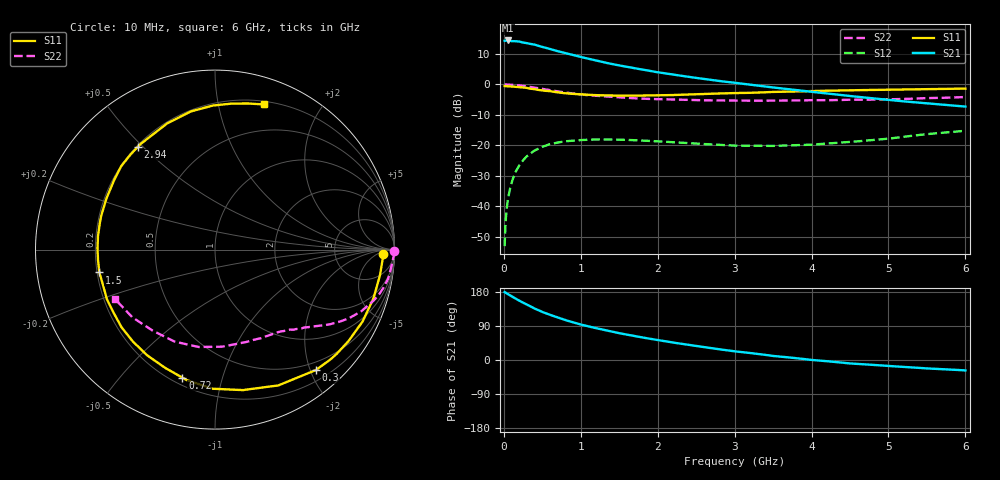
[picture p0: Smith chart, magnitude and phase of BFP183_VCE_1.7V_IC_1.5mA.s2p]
! Infineon Technologies  Discrete & RF Semiconductors
! BFP183
! VCE = 1.7 V,  IC =  1.5 mA
! Common Emitter S-Parameters:  Jan 2016
# GHz  S  MA  R  50
!  f  S11  S21  S12  S22
! GHz  MAG  ANG  MAG  ANG  MAG  ANG  MAG  ANG
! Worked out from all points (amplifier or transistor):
!   210 points, 10 MHz to 6 GHz, reference 50 ohm
!   highest |S21| = 14.4 dB at 50 MHz (marker M1)
!   |S21| within 3 dB of that: start of sweep to 629 MHz
!   unconditionally stable (mu >= 1): 2.217 GHz to end of sweep
!   at 185 MHz: K = 0.09, MSG = 20.7 dB, |S12| = -27.3 dB
!   at 1.52 GHz: K = 0.66, MSG = 12.2 dB, |S12| = -18.2 dB
!   at 6 GHz: K = 1.02, MAG = 3.2 dB, |S12| = -15.2 dB
!   S11 on the Smith chart (normalised r, x): 10 MHz: 26, -11; 300 MHz: 0.36, -2.09; 720 MHz: 0.24, -0.75; 1.5 GHz: 0.21, -0.09; 2.94 GHz: 0.21, +0.48; 6 GHz: 0.23, +1.37
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0.01  0.9373 -1.6  5.195 179.2  0.0022 83.9  0.9994 -0.6
0.025  0.9339 -4.4  5.231 177.6  0.0059 84.8  0.998 -1.6
0.05  0.9302 -8.8  5.268 174.1  0.0121 86.5  0.993 -3.2
0.11  0.9202 -18.9  5.127 167.2  0.0263 78.1  0.9833 -7.0
0.2  0.9016 -34.5  5.059 156.6  0.0465 70.0  0.9633 -12.6
0.3  0.8754 -50.0  4.758 146.4  0.0661 61.6  0.9265 -18.0
0.4  0.835 -65.0  4.494 135.8  0.082 53.3  0.8852 -22.8
0.5  0.798 -78.8  4.131 126.8  0.0941 45.8  0.8416 -26.9
0.6  0.7752 -91.1  3.827 119.1  0.1044 40.0  0.8027 -30.0
0.72  0.7361 -104.3  3.462 110.6  0.112 33.7  0.7603 -33.2
0.9  0.6997 -122.8  3.048 99.2  0.1196 25.8  0.7064 -37.1
1.02  0.6836 -133.5  2.783 92.6  0.122 21.6  0.6792 -39.4
1.22  0.6642 -149.4  2.424 83.1  0.1248 15.5  0.647 -42.8
1.5  0.6568 -168.8  2.05 70.8  0.1236 9.5  0.6107 -46.9
1.8  0.6561 173.5  1.756 59.4  0.1195 5.4  0.5825 -51.6
2.02  0.6614 162.7  1.568 52.0  0.1157 3.5  0.5712 -55.1
2.4  0.6818 146.0  1.332 40.0  0.1086 1.3  0.557 -62.2
2.94  0.7156 126.9  1.085 24.6  0.0996 3.7  0.5415 -73.2
3.1  0.7227 122.0  1.026 20.8  0.0984 5.3  0.5393 -76.9
4.1  0.7842 98.0  0.732 -1.4  0.1044 17.0  0.5494 -102.4
5.1  0.8214 82.1  0.54 -17.0  0.1332 24.3  0.5723 -130.2
6  0.8532 71.4  0.432 -27.5  0.173 20.1  0.6206 -153.4
